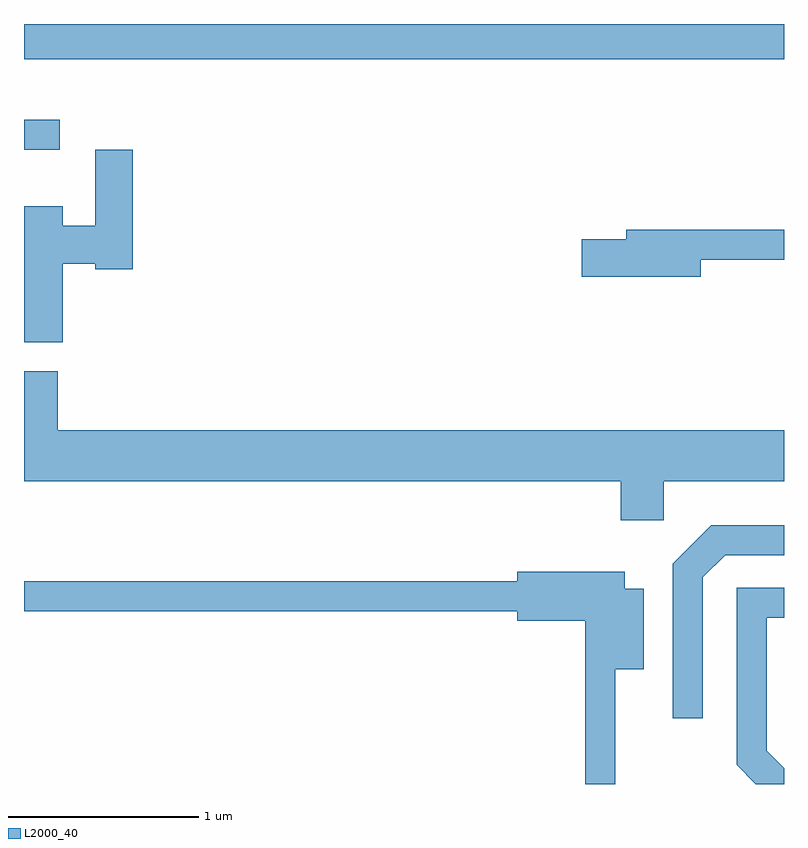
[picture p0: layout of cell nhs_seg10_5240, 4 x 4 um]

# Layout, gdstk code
import gdstk
lib = gdstk.Library(unit=1e-6, precision=1e-09)
def R(c, l, rs):  # rectangles x0, y0, x1, y1
    for r in rs: c.add(gdstk.rectangle(r[:2], r[2:], *l))
def P(c, l, *ps):  # polygons
    for p in ps: c.add(gdstk.Polygon(p, *l))
L2000_40 = (2000, 40)

nhs_seg10_5240 = lib.new_cell('nhs_seg10_5240')
R(nhs_seg10_5240, L2000_40, [(339.611,2137.861,339.798,2138.019), (339.611,2138.336,343.611,2138.522)])
P(nhs_seg10_5240, L2000_40, [(339.814,2137.261),(339.986,2137.261),(339.986,2137.231),(340.184,2137.231),(340.184,2137.859),(339.986,2137.859),(339.986,2137.459),(339.814,2137.459),(339.814,2137.564),(339.611,2137.564),(339.611,2136.846),(339.814,2136.846)],
  [(343.174,2137.281),(343.611,2137.281),(343.611,2137.439),(342.781,2137.439),(342.781,2137.389),(342.546,2137.389),(342.546,2137.191),(343.174,2137.191)],
  [(342.979,2136.116),(343.611,2136.116),(343.611,2136.384),(339.789,2136.384),(339.789,2136.694),(339.611,2136.694),(339.611,2136.116),(342.751,2136.116),(342.751,2135.911),(342.979,2135.911)],
  [(343.184,2135.609),(343.302,2135.726),(343.611,2135.726),(343.611,2135.884),(343.229,2135.884),(343.026,2135.682),(343.026,2134.868),(343.184,2134.868)],
  [(342.724,2135.126),(342.874,2135.126),(342.874,2135.549),(342.774,2135.549),(342.774,2135.639),(342.206,2135.639),(342.206,2135.589),(339.611,2135.589),(339.611,2135.431),(342.206,2135.431),(342.206,2135.381),(342.566,2135.381),(342.566,2134.522),(342.724,2134.522)],
  [(343.611,2134.605),(343.519,2134.697),(343.519,2135.396),(343.611,2135.396),(343.611,2135.554),(343.361,2135.554),(343.361,2134.624),(343.463,2134.522),(343.611,2134.522)])

lib.write_gds('nhs_seg10_5240.gds')
